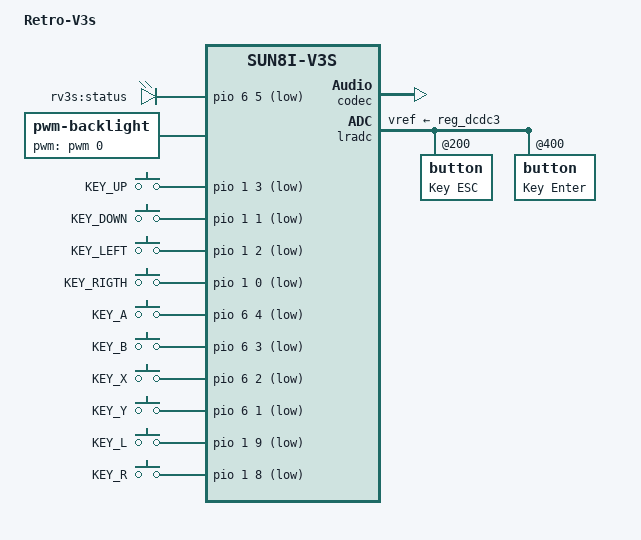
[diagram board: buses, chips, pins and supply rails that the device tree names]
/*
 * Copyright (C) 2016 Icenowy Zheng <icenowy@aosc.xyz>
 *
 * This file is dual-licensed: you can use it either under the terms
 * of the GPL or the X11 license, at your option. Note that this dual
 * licensing only applies to this file, and not this project as a
 * whole.
 *
 *  a) This file is free software; you can redistribute it and/or
 *     modify it under the terms of the GNU General Public License as
 *     published by the Free Software Foundation; either version 2 of the
 *     License, or (at your option) any later version.
 *
 *     This file is distributed in the hope that it will be useful,
 *     but WITHOUT ANY WARRANTY; without even the implied warranty of
 *     MERCHANTABILITY or FITNESS FOR A PARTICULAR PURPOSE.  See the
 *     GNU General Public License for more details.
 *
 * Or, alternatively,
 *
 *  b) Permission is hereby granted, free of charge, to any person
 *     obtaining a copy of this software and associated documentation
 *     files (the "Software"), to deal in the Software without
 *     restriction, including without limitation the rights to use,
 *     copy, modify, merge, publish, distribute, sublicense, and/or
 *     sell copies of the Software, and to permit persons to whom the
 *     Software is furnished to do so, subject to the following
 *     conditions:
 *
 *     The above copyright notice and this permission notice shall be
 *     included in all copies or substantial portions of the Software.
 *
 *     THE SOFTWARE IS PROVIDED "AS IS", WITHOUT WARRANTY OF ANY KIND,
 *     EXPRESS OR IMPLIED, INCLUDING BUT NOT LIMITED TO THE WARRANTIES
 *     OF MERCHANTABILITY, FITNESS FOR A PARTICULAR PURPOSE AND
 *     NONINFRINGEMENT. IN NO EVENT SHALL THE AUTHORS OR COPYRIGHT
 *     HOLDERS BE LIABLE FOR ANY CLAIM, DAMAGES OR OTHER LIABILITY,
 *     WHETHER IN AN ACTION OF CONTRACT, TORT OR OTHERWISE, ARISING
 *     FROM, OUT OF OR IN CONNECTION WITH THE SOFTWARE OR THE USE OR
 *     OTHER DEALINGS IN THE SOFTWARE.
 */


#include <dt-bindings/input/input.h>

#include "sun8i-v3s-licheepi-zero-uart1.dts"

/ {
	model = "Retro-V3s";
	compatible = "allwinner,sun8i-v3s";

        leds {
                compatible = "gpio-leds";
                pinctrl-names = "default";
                pinctrl-0 = <&led_pins>;
                status {
                        label = "rv3s:status";
                        gpios = <&pio 6 5 GPIO_ACTIVE_LOW>;
                        linux,default-trigger = "mmc0";
                };
        };

	backlight {
		compatible = "pwm-backlight";
		pwms = <&pwm 0 1000000 0>;
		brightness-levels = <0 30 40 50 60 70 100>;
		default-brightness-level = <4>;
		status = "okay";
	};

	gpio-keys {
		compatible = "gpio-keys";
		pinctrl-names = "default";
		pinctrl-0 = <&gpio_keys_pins>;
	
		key_up {
			label = "KEY_UP";
			gpios = <&pio 1 3 GPIO_ACTIVE_LOW>;
			linux,code = <KEY_UP>;
		};

                key_down {
                        label = "KEY_DOWN";
                        gpios = <&pio 1 1 GPIO_ACTIVE_LOW>;
                        linux,code = <KEY_DOWN>;
                };
                key_left {
                        label = "KEY_LEFT";
                        gpios = <&pio 1 2 GPIO_ACTIVE_LOW>;
                        linux,code = <KEY_LEFT>;
                };
                key_right {
                        label = "KEY_RIGTH";
                        gpios = <&pio 1 0 GPIO_ACTIVE_LOW>;
                        linux,code = <KEY_RIGHT>;
                };
                key_A  {
                        label = "KEY_A";
                        gpios = <&pio 6 4 GPIO_ACTIVE_LOW>;
                        linux,code = <KEY_A>;
                };
                key_B  {
                        label = "KEY_B";
                        gpios = <&pio 6 3 GPIO_ACTIVE_LOW>;
                        linux,code = <KEY_B>;
                };
                key_X  {
                        label = "KEY_X";
                        gpios = <&pio 6 2 GPIO_ACTIVE_LOW>;
                        linux,code = <KEY_X>;
                };
                key_Y  {
                        label = "KEY_Y";
                        gpios = <&pio 6 1 GPIO_ACTIVE_LOW>;
                        linux,code = <KEY_Y>;
                };
                key_L  {
                        label = "KEY_L";
                        gpios = <&pio 1 9 GPIO_ACTIVE_LOW>;
                        linux,code = <KEY_L>;
                };
                key_R  {
                        label = "KEY_R";
                        gpios = <&pio 1 8 GPIO_ACTIVE_LOW>;
                        linux,code = <KEY_R>;
                };
	};
};

&codec {
	allwinner,audio-routing =
		"Headphone", "HP",
		"Headphone", "HPCOM",
		"MIC1", "Mic",
		"Mic",  "HBIAS";
	status = "okay";
};

&lradc {
	vref-supply = <&reg_dcdc3>;
	status = "okay";

	button@200 {
		label = "Key ESC";
		linux,code = <KEY_ESC>;
		channel = <0>;
		voltage = <200000>;
	};

	button@400 {
		label = "Key Enter";
		linux,code = <KEY_ENTER>;
		channel = <0>;
		voltage = <400000>;
	};
};
